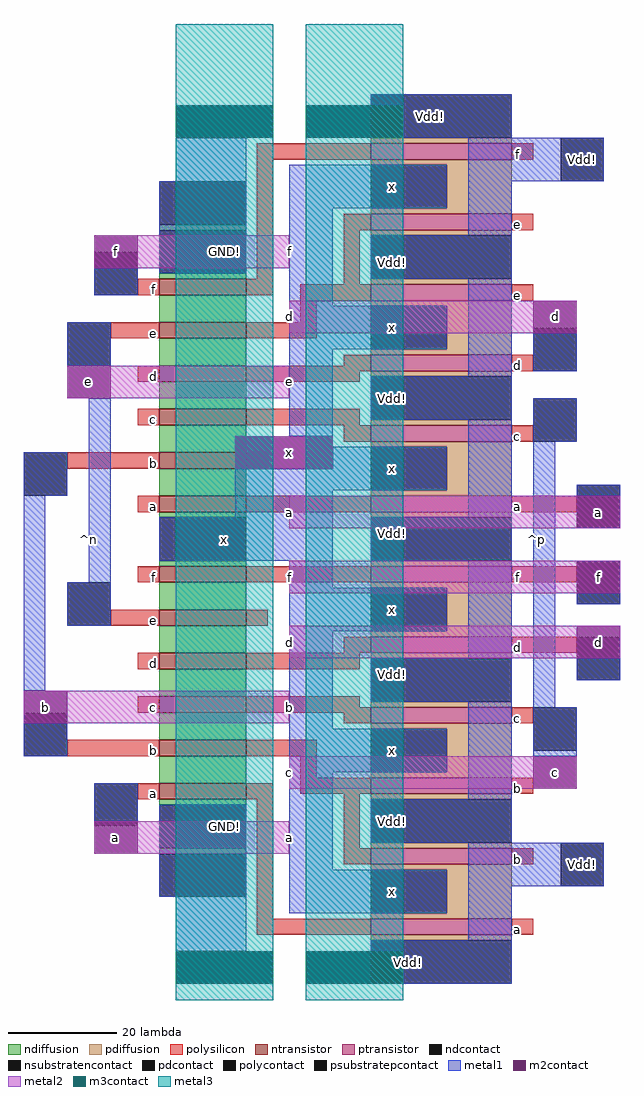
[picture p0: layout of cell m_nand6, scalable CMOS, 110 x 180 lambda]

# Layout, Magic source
magic
tech scmos
<< ndiffusion >>
rect -24 -696 -8 -695
rect -24 -705 -8 -704
rect -24 -713 -8 -708
rect -24 -721 -8 -716
rect -24 -729 -8 -724
rect -24 -737 -8 -732
rect -24 -745 -8 -740
rect -24 -749 -8 -748
rect -24 -758 -8 -757
rect -24 -766 -8 -761
rect -24 -774 -8 -769
rect -24 -782 -8 -777
rect -24 -790 -8 -785
rect -24 -798 -8 -793
rect -24 -802 -8 -801
rect -24 -811 -8 -810
<< pdiffusion >>
rect 15 -680 41 -679
rect 15 -684 41 -683
rect 29 -692 41 -684
rect 15 -693 41 -692
rect 15 -697 41 -696
rect 15 -706 41 -705
rect 15 -710 41 -709
rect 29 -718 41 -710
rect 15 -719 41 -718
rect 15 -723 41 -722
rect 15 -732 41 -731
rect 15 -736 41 -735
rect 29 -744 41 -736
rect 15 -745 41 -744
rect 15 -749 41 -748
rect 15 -758 41 -757
rect 15 -762 41 -761
rect 29 -770 41 -762
rect 15 -771 41 -770
rect 15 -775 41 -774
rect 15 -784 41 -783
rect 15 -788 41 -787
rect 29 -796 41 -788
rect 15 -797 41 -796
rect 15 -801 41 -800
rect 15 -810 41 -809
rect 15 -814 41 -813
rect 29 -822 41 -814
rect 15 -823 41 -822
rect 15 -827 41 -826
<< ntransistor >>
rect -24 -708 -8 -705
rect -24 -716 -8 -713
rect -24 -724 -8 -721
rect -24 -732 -8 -729
rect -24 -740 -8 -737
rect -24 -748 -8 -745
rect -24 -761 -8 -758
rect -24 -769 -8 -766
rect -24 -777 -8 -774
rect -24 -785 -8 -782
rect -24 -793 -8 -790
rect -24 -801 -8 -798
<< ptransistor >>
rect 15 -683 41 -680
rect 15 -696 41 -693
rect 15 -709 41 -706
rect 15 -722 41 -719
rect 15 -735 41 -732
rect 15 -748 41 -745
rect 15 -761 41 -758
rect 15 -774 41 -771
rect 15 -787 41 -784
rect 15 -800 41 -797
rect 15 -813 41 -810
rect 15 -826 41 -823
<< polysilicon >>
rect -6 -683 15 -680
rect 41 -683 45 -680
rect -6 -705 -3 -683
rect -28 -708 -24 -705
rect -8 -708 -3 -705
rect 10 -696 15 -693
rect 41 -696 45 -693
rect 10 -706 13 -696
rect 2 -709 15 -706
rect 41 -709 45 -706
rect 2 -713 5 -709
rect -33 -716 -24 -713
rect -8 -716 5 -713
rect 10 -721 15 -719
rect -28 -724 -24 -721
rect -8 -722 15 -721
rect 41 -722 45 -719
rect -8 -724 13 -722
rect -28 -732 -24 -729
rect -8 -732 13 -729
rect 10 -735 15 -732
rect 41 -735 45 -732
rect -41 -740 -24 -737
rect -8 -740 -4 -737
rect -28 -748 -24 -745
rect -8 -748 15 -745
rect 41 -748 53 -745
rect -28 -761 -24 -758
rect -8 -761 15 -758
rect 41 -761 53 -758
rect -33 -769 -24 -766
rect -8 -769 -4 -766
rect 10 -774 15 -771
rect 41 -774 53 -771
rect -28 -777 -24 -774
rect -8 -777 13 -774
rect -28 -785 -24 -782
rect -8 -784 13 -782
rect -8 -785 15 -784
rect 10 -787 15 -785
rect 41 -787 45 -784
rect -41 -793 -24 -790
rect -8 -793 5 -790
rect 2 -797 5 -793
rect -28 -801 -24 -798
rect -8 -801 -3 -798
rect 2 -800 15 -797
rect 41 -800 45 -797
rect -6 -823 -3 -801
rect 10 -810 13 -800
rect 10 -813 15 -810
rect 41 -813 45 -810
rect -6 -826 15 -823
rect 41 -826 45 -823
<< ndcontact >>
rect -24 -704 -8 -696
rect -24 -757 -8 -749
rect -24 -810 -8 -802
<< pdcontact >>
rect 15 -679 41 -671
rect 15 -692 29 -684
rect 15 -705 41 -697
rect 15 -718 29 -710
rect 15 -731 41 -723
rect 15 -744 29 -736
rect 15 -757 41 -749
rect 15 -770 29 -762
rect 15 -783 41 -775
rect 15 -796 29 -788
rect 15 -809 41 -801
rect 15 -822 29 -814
rect 15 -835 41 -827
<< psubstratepcontact >>
rect -24 -695 -8 -687
rect -24 -819 -8 -811
<< nsubstratencontact >>
rect 50 -687 58 -679
rect 50 -817 58 -809
<< polycontact >>
rect -36 -708 -28 -700
rect -41 -721 -33 -713
rect 45 -722 53 -714
rect 45 -735 53 -727
rect -49 -745 -41 -737
rect 53 -751 61 -743
rect -41 -769 -33 -761
rect 53 -765 61 -757
rect 53 -779 61 -771
rect -49 -793 -41 -785
rect 45 -792 53 -784
rect -36 -806 -28 -798
<< metal1 >>
rect 15 -673 41 -671
rect 21 -679 41 -673
rect -21 -687 -8 -679
rect -36 -708 -28 -703
rect -24 -704 -8 -687
rect 0 -692 29 -684
rect 33 -687 58 -679
rect 0 -710 8 -692
rect 33 -697 41 -687
rect 15 -705 41 -697
rect -41 -721 -33 -713
rect -49 -745 -41 -737
rect -49 -781 -45 -745
rect -37 -761 -33 -727
rect 0 -718 29 -710
rect 0 -734 8 -718
rect 33 -723 41 -705
rect 45 -722 53 -715
rect 15 -731 41 -723
rect 8 -740 29 -736
rect -10 -744 29 -740
rect -10 -749 8 -744
rect 33 -749 41 -731
rect -24 -757 8 -749
rect 15 -757 41 -749
rect -41 -769 -33 -761
rect 0 -762 8 -757
rect 0 -770 29 -762
rect -49 -793 -41 -787
rect 0 -788 8 -770
rect 33 -775 41 -757
rect 15 -783 41 -775
rect 0 -796 29 -788
rect -36 -805 -28 -798
rect -24 -819 -8 -802
rect -21 -829 -8 -819
rect 0 -814 8 -796
rect 33 -801 41 -783
rect 45 -735 53 -727
rect 45 -784 49 -735
rect 53 -745 61 -743
rect 53 -765 61 -763
rect 53 -779 61 -775
rect 45 -793 53 -784
rect 15 -809 41 -801
rect 0 -822 29 -814
rect 33 -817 58 -809
rect 33 -827 41 -817
rect 15 -829 41 -827
rect 21 -835 41 -829
<< m2contact >>
rect -21 -679 -3 -673
rect 3 -679 21 -673
rect -36 -703 -28 -697
rect -41 -727 -33 -721
rect 45 -715 53 -709
rect -10 -740 8 -734
rect -49 -787 -41 -781
rect -36 -811 -28 -805
rect 53 -751 61 -745
rect 53 -763 61 -757
rect 53 -775 61 -769
rect 45 -799 53 -793
rect -21 -835 -3 -829
rect 3 -835 21 -829
<< metal2 >>
rect -36 -703 0 -697
rect 0 -715 53 -709
rect -41 -727 0 -721
rect -10 -740 8 -734
rect 0 -751 61 -745
rect 0 -763 61 -757
rect 0 -775 61 -769
rect -49 -787 0 -781
rect 0 -799 53 -793
rect -36 -811 0 -805
<< m3contact >>
rect -21 -679 -3 -673
rect 3 -679 21 -673
rect -21 -835 -3 -829
rect 3 -835 21 -829
<< metal3 >>
rect -21 -838 -3 -658
rect 3 -838 21 -658
<< labels >>
rlabel metal1 19 -752 19 -752 5 Vdd!
rlabel metal1 19 -778 19 -778 5 Vdd!
rlabel metal1 19 -740 19 -740 5 x
rlabel metal1 19 -702 19 -702 1 Vdd!
rlabel metal1 19 -714 19 -714 5 x
rlabel metal1 19 -727 19 -727 1 Vdd!
rlabel metal1 19 -766 19 -766 1 x
rlabel metal1 19 -792 19 -792 5 x
rlabel metal1 19 -818 19 -818 1 x
rlabel metal1 19 -805 19 -805 1 Vdd!
rlabel metal1 19 -688 19 -688 5 x
rlabel metal1 -12 -700 -12 -700 5 GND!
rlabel metal1 -12 -753 -12 -753 5 x
rlabel polysilicon -25 -707 -25 -707 3 f
rlabel polysilicon -25 -760 -25 -760 3 f
rlabel polysilicon -25 -768 -25 -768 3 e
rlabel polysilicon -25 -776 -25 -776 1 d
rlabel polysilicon -25 -800 -25 -800 3 a
rlabel polysilicon -25 -792 -25 -792 3 b
rlabel polysilicon -25 -784 -25 -784 3 c
rlabel polysilicon -25 -715 -25 -715 3 e
rlabel polysilicon -25 -723 -25 -723 1 d
rlabel polysilicon -25 -731 -25 -731 3 c
rlabel polysilicon -25 -739 -25 -739 3 b
rlabel polysilicon -25 -747 -25 -747 3 a
rlabel polysilicon 42 -825 42 -825 7 a
rlabel polysilicon 42 -812 42 -812 7 b
rlabel polysilicon 42 -799 42 -799 7 b
rlabel polysilicon 42 -786 42 -786 7 c
rlabel polysilicon 42 -773 42 -773 7 d
rlabel polysilicon 42 -760 42 -760 7 f
rlabel polysilicon 42 -747 42 -747 7 a
rlabel polysilicon 42 -734 42 -734 7 c
rlabel polysilicon 42 -721 42 -721 7 d
rlabel polysilicon 42 -708 42 -708 7 e
rlabel polysilicon 42 -695 42 -695 7 e
rlabel polysilicon 42 -682 42 -682 7 f
rlabel metal1 -12 -806 -12 -806 1 GND!
rlabel space 29 -836 62 -670 3 ^p
rlabel metal1 26 -675 26 -675 1 Vdd!
rlabel metal2 0 -763 0 -757 3 f
rlabel metal2 0 -751 0 -745 3 a
rlabel metal2 0 -811 0 -805 7 a
rlabel metal2 0 -715 0 -709 3 d
rlabel metal2 0 -727 0 -721 7 e
rlabel metal2 0 -703 0 -697 7 f
rlabel metal2 0 -740 0 -734 1 x
rlabel metal2 0 -775 0 -769 3 d
rlabel metal2 0 -787 0 -781 7 b
rlabel metal2 0 -799 0 -793 3 c
rlabel space -50 -819 -24 -687 7 ^n
rlabel metal1 54 -813 54 -813 1 Vdd!
rlabel metal1 54 -683 54 -683 1 Vdd!
rlabel metal1 22 -831 22 -831 1 Vdd!
rlabel metal2 -32 -808 -32 -808 1 a
rlabel metal2 -45 -784 -45 -784 3 b
rlabel metal2 -37 -724 -37 -724 1 e
rlabel metal2 -32 -700 -32 -700 1 f
rlabel metal2 49 -796 49 -796 1 c
rlabel metal2 57 -772 57 -772 7 d
rlabel metal2 57 -760 57 -760 7 f
rlabel metal2 57 -748 57 -748 7 a
rlabel metal2 49 -712 49 -712 1 d
<< end >>
